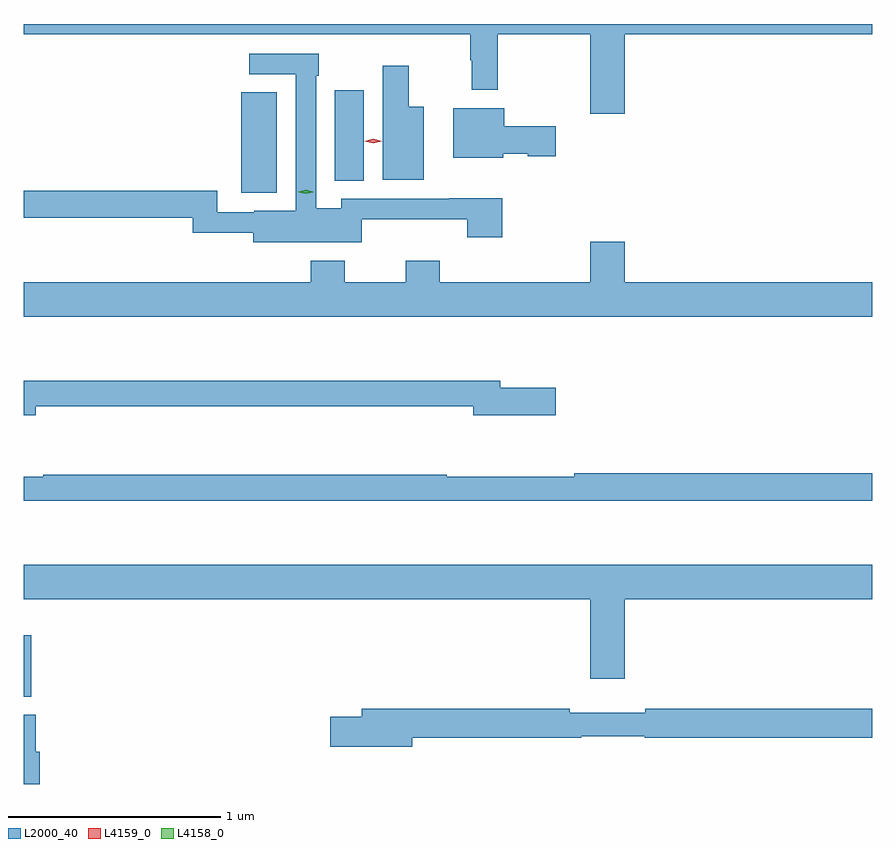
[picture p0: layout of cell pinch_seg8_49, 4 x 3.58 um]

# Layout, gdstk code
import gdstk
lib = gdstk.Library(unit=1e-6, precision=1e-09)
def R(c, l, rs):  # rectangles x0, y0, x1, y1
    for r in rs: c.add(gdstk.rectangle(r[:2], r[2:], *l))
def P(c, l, *ps):  # polygons
    for p in ps: c.add(gdstk.Polygon(p, *l))
L2000_40 = (2000, 40)
L4158_0 = (4158, 0)
L4159_0 = (4159, 0)

pinch_seg8_49 = lib.new_cell('pinch_seg8_49')
R(pinch_seg8_49, L2000_40, [(989.51,1161.329,989.546,1161.619), (990.536,1163.705,990.703,1164.179), (990.977,1163.761,991.114,1164.187)])
P(pinch_seg8_49, L2000_40, [(992.344,1164.452),(993.51,1164.452),(993.51,1164.5),(989.51,1164.5),(989.51,1164.452),(991.615,1164.452),(991.615,1164.329),(991.623,1164.329),(991.623,1164.189),(991.744,1164.189),(991.744,1164.452),(992.18,1164.452),(992.18,1164.078),(992.344,1164.078)],
  [(991.104,1163.579),(991.601,1163.579),(991.601,1163.496),(991.766,1163.496),(991.766,1163.678),(991.517,1163.678),(991.517,1163.676),(991.008,1163.676),(991.008,1163.632),(990.888,1163.632),(990.888,1164.257),(990.901,1164.257),(990.901,1164.36),(990.573,1164.36),(990.573,1164.264),(990.792,1164.264),(990.792,1163.62),(990.597,1163.62),(990.597,1163.613),(990.423,1163.613),(990.423,1163.714),(989.51,1163.714),(989.51,1163.586),(990.307,1163.586),(990.307,1163.515),(990.593,1163.515),(990.593,1163.471),(991.104,1163.471)],
  [(991.396,1164.109),(991.324,1164.109),(991.324,1164.304),(991.202,1164.304),(991.202,1163.765),(991.396,1163.765)],
  [(991.77,1163.888),(991.887,1163.888),(991.887,1163.876),(992.017,1163.876),(992.017,1164.018),(991.774,1164.018),(991.774,1164.103),(991.535,1164.103),(991.535,1163.87),(991.77,1163.87)],
  [(993.51,1163.284),(992.344,1163.284),(992.344,1163.473),(992.18,1163.473),(992.18,1163.284),(991.472,1163.284),(991.472,1163.383),(991.312,1163.383),(991.312,1163.284),(991.023,1163.284),(991.023,1163.383),(990.863,1163.383),(990.863,1163.284),(989.51,1163.284),(989.51,1163.12),(993.51,1163.12)],
  [(989.566,1162.698),(991.628,1162.698),(991.628,1162.655),(992.017,1162.655),(992.017,1162.785),(991.756,1162.785),(991.756,1162.819),(989.51,1162.819),(989.51,1162.655),(989.566,1162.655)],
  [(993.51,1162.382),(992.104,1162.382),(992.104,1162.367),(991.504,1162.367),(991.504,1162.375),(989.603,1162.375),(989.603,1162.367),(989.51,1162.367),(989.51,1162.254),(993.51,1162.254)],
  [(992.344,1161.788),(993.51,1161.788),(993.51,1161.952),(989.51,1161.952),(989.51,1161.788),(992.18,1161.788),(992.18,1161.414),(992.344,1161.414)],
  [(991.342,1161.136),(992.138,1161.136),(992.138,1161.144),(992.438,1161.144),(992.438,1161.136),(993.51,1161.136),(993.51,1161.272),(992.44,1161.272),(992.44,1161.253),(992.084,1161.253),(992.084,1161.272),(991.103,1161.272),(991.103,1161.236),(990.954,1161.236),(990.954,1161.094),(991.342,1161.094)],
  [(989.587,1161.071),(989.567,1161.071),(989.567,1161.244),(989.51,1161.244),(989.51,1160.918),(989.587,1160.918)])
P(pinch_seg8_49, L4158_0, [(990.84,1163.699),(990.806,1163.708),(990.805,1163.709),(990.806,1163.709),(990.84,1163.719),(990.875,1163.709),(990.875,1163.709),(990.875,1163.708)])
P(pinch_seg8_49, L4159_0, [(991.157,1163.938),(991.117,1163.948),(991.117,1163.948),(991.117,1163.948),(991.157,1163.958),(991.197,1163.948),(991.197,1163.948),(991.197,1163.947)])

lib.write_gds('pinch_seg8_49.gds')
